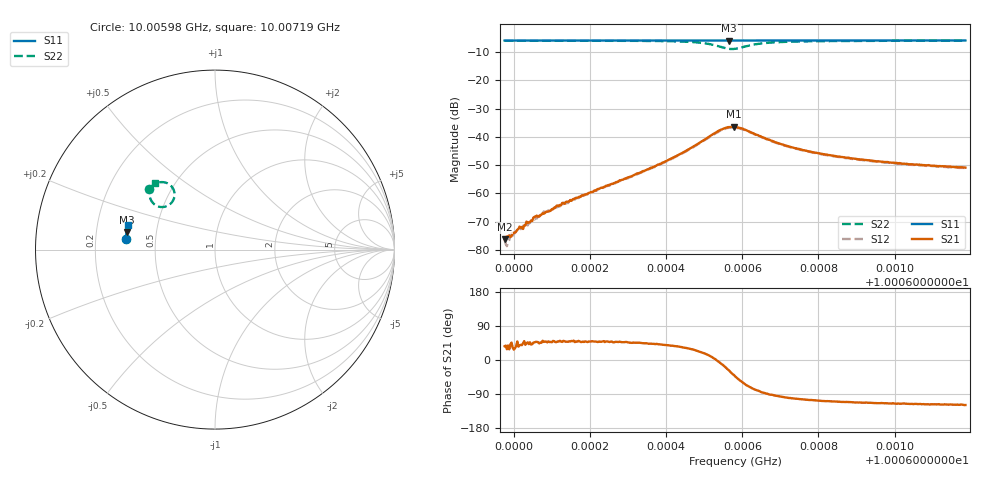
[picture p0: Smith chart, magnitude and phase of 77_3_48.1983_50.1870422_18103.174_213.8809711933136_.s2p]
#  HZ  S  RI  R  50.00
! Rohde & Schwarz Vector Network Analyzer
! Rohde-Schwarz,ZNB20-2Port,1311601062101988,3.16
! Created: UTC 3/20/2024, 11:39:32 AM
! freq[Hz]  re:S11  im:S11  re:S21  im:S21  re:S12  im:S12  re:S22  im:S22
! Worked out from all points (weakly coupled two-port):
!   401 points, 10.00598 GHz to 10.00719 GHz, reference 50 ohm
!   highest |S21| = -36.46 dB at 10.00658 GHz (marker M1); lowest = -76.2 dB at 10.00598 GHz (marker M2)
!   lowest |S11| = -6.0 dB at 10.00657 GHz (marker M3), VSWR 3.01, Z = 16.8 + j4.41 ohm
!   |S11| at or under -10 dB: nowhere
!   |S22| runs from -9.0 to -6.0 dB; largest |S21 - S12| = 0.00095
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1.0005975e10  -0.4979 0.0608  0.000125 9.19e-05  0.000144 4.12e-05  -0.3679 0.3363
1.0005984e10  -0.4978 0.0615  0.000137 0.000109  0.000106 9.07e-05  -0.3674 0.337
1.0005993e10  -0.4978 0.0619  0.000121 0.000125  0.000139 0.00014  -0.3668 0.3376
1.0006008e10  -0.4976 0.063  0.000149 0.000172  0.000162 0.000159  -0.3657 0.3386
1.0006024e10  -0.4974 0.064  0.000169 0.000163  0.000192 0.000188  -0.3647 0.3396
1.0006057e10  -0.4972 0.0662  0.000264 0.000293  0.000252 0.000272  -0.3628 0.342
1.0006078e10  -0.4972 0.0675  0.000295 0.000324  0.000308 0.000367  -0.3613 0.3435
1.0006133e10  -0.4968 0.0711  0.000424 0.0005  0.000418 0.000521  -0.3573 0.3476
1.0006178e10  -0.4964 0.0741  0.000625 0.000683  0.000532 0.000679  -0.3535 0.351
1.0006381e10  -0.4945 0.0872  0.00243 0.00215  0.00229 0.00222  -0.324 0.3707
1.0006444e10  -0.4939 0.0915  0.00446 0.00289  0.00421 0.00304  -0.3005 0.376
1.0006502e10  -0.4929 0.0953  0.00867 0.00257  0.0083 0.00294  -0.259 0.366
1.0006538e10  -0.4919 0.0972  0.0128 -0.00107  0.0124 -0.000529  -0.2275 0.3244
1.0006566e10  -0.4912 0.0985  0.0131 -0.007  0.0132 -0.00621  -0.2367 0.2681
1.0006578e10  -0.4914 0.0989  0.0116 -0.00954  0.0117 -0.00877  -0.2563 0.2482
1.0006581e10  -0.4914 0.0991  0.0109 -0.0101  0.0112 -0.00934  -0.2622 0.2448
1.0006647e10  -0.4917 0.103  0.00113 -0.0102  0.00151 -0.0099  -0.3529 0.2691
1.0006705e10  -0.4913 0.107  -0.000959 -0.00726  -0.00056 -0.0072  -0.3638 0.3038
1.0006784e10  -0.4904 0.1121  -0.00146 -0.00516  -0.00121 -0.00512  -0.3606 0.3285
1.0006868e10  -0.4895 0.1176  -0.00154 -0.00404  -0.00134 -0.00403  -0.3547 0.3433
1.0006986e10  -0.4879 0.1251  -0.00147 -0.00319  -0.00129 -0.00321  -0.3466 0.3562
1.0007186e10  -0.4849 0.1377  -0.00138 -0.0025  -0.00122 -0.00254  -0.3345 0.3715
